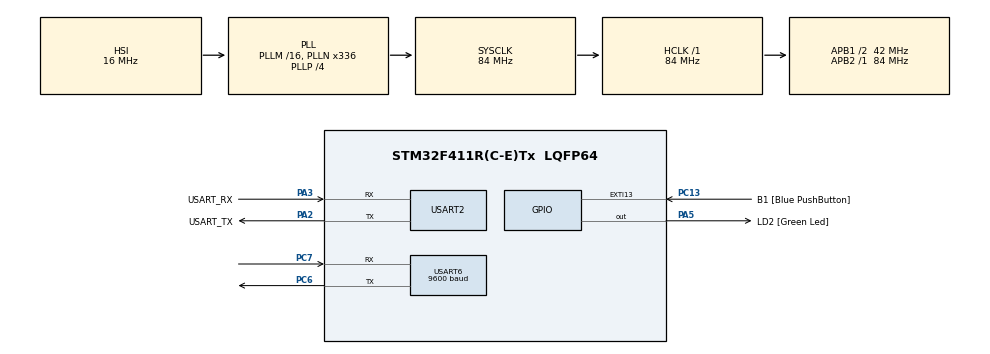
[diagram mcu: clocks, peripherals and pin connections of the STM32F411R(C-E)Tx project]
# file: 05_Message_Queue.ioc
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Dma.Request0=USART6_RX
Dma.Request1=USART2_TX
Dma.USART2_TX.1.Direction=DMA_MEMORY_TO_PERIPH
Dma.USART2_TX.1.FIFOMode=DMA_FIFOMODE_DISABLE
Dma.USART2_TX.1.Instance=DMA1_Stream6
Dma.USART2_TX.1.MemDataAlignment=DMA_MDATAALIGN_BYTE
Dma.USART2_TX.1.MemInc=DMA_MINC_ENABLE
Dma.USART2_TX.1.Mode=DMA_NORMAL
Dma.USART2_TX.1.PeriphDataAlignment=DMA_PDATAALIGN_BYTE
Dma.USART2_TX.1.PeriphInc=DMA_PINC_DISABLE
Dma.USART2_TX.1.Priority=DMA_PRIORITY_MEDIUM
Dma.USART6_RX.0.Direction=DMA_PERIPH_TO_MEMORY
Dma.USART6_RX.0.FIFOMode=DMA_FIFOMODE_ENABLE
Dma.USART6_RX.0.FIFOThreshold=DMA_FIFO_THRESHOLD_FULL
Dma.USART6_RX.0.Instance=DMA2_Stream2
Dma.USART6_RX.0.MemBurst=DMA_MBURST_SINGLE
Dma.USART6_RX.0.MemDataAlignment=DMA_MDATAALIGN_BYTE
Dma.USART6_RX.0.MemInc=DMA_MINC_ENABLE
Dma.USART6_RX.0.Mode=DMA_CIRCULAR
Dma.USART6_RX.0.PeriphBurst=DMA_PBURST_SINGLE
Dma.USART6_RX.0.PeriphDataAlignment=DMA_PDATAALIGN_BYTE
Dma.USART6_RX.0.PeriphInc=DMA_PINC_DISABLE
Dma.USART6_RX.0.Priority=DMA_PRIORITY_MEDIUM
FREERTOS.Tasks01=defaultTask,24,128,StartDefaultTask,Default,NULL,Dynamic,NULL,NULL
FREERTOS.configUSE_NEWLIB_REENTRANT=1
Mcu.Family=STM32F4
Mcu.Name=STM32F411R(C-E)Tx
Mcu.Package=LQFP64
NVIC.DMA1_Stream6_IRQn=true\:5\:0\:false\:false\:true\:true\:false\:true\:true
NVIC.DMA2_Stream2_IRQn=true\:5\:0\:false\:false\:true\:true\:false\:true\:true
NVIC.PriorityGroup=NVIC_PRIORITYGROUP_4
NVIC.TIM2_IRQn=true\:15\:0\:false\:false\:true\:false\:false\:true\:true
NVIC.TimeBase=TIM2_IRQn
NVIC.TimeBaseIP=TIM2
PA13.GPIO_Label=TMS
PA13.Mode=Serial_Wire
PA13.Signal=SYS_JTMS-SWDIO
PA14.GPIO_Label=TCK
PA14.Mode=Serial_Wire
PA14.Signal=SYS_JTCK-SWCLK
PA2.GPIO_Label=USART_TX
PA2.Mode=Asynchronous
PA2.Signal=USART2_TX
PA3.GPIO_Label=USART_RX
PA3.Mode=Asynchronous
PA3.Signal=USART2_RX
PA5.GPIO_Label=LD2 [Green Led]
PA5.Signal=GPIO_Output
PB3.GPIO_Label=SWO
PB3.Signal=SYS_JTDO-SWO
PC13-ANTI_TAMP.GPIO_Label=B1 [Blue PushButton]
PC13-ANTI_TAMP.GPIO_ModeDefaultEXTI=GPIO_MODE_IT_FALLING
PC13-ANTI_TAMP.Signal=GPXTI13
PC14-OSC32_IN.Mode=LSE-External-Oscillator
PC14-OSC32_IN.Signal=RCC_OSC32_IN
PC15-OSC32_OUT.Mode=LSE-External-Oscillator
PC15-OSC32_OUT.Signal=RCC_OSC32_OUT
PC6.Mode=Asynchronous
PC6.Signal=USART6_TX
PC7.Mode=Asynchronous
PC7.Signal=USART6_RX
PH0\ -\ OSC_IN.Mode=HSE-External-Clock-Source
PH0\ -\ OSC_IN.Signal=RCC_OSC_IN
PH1\ -\ OSC_OUT.Mode=HSE-External-Clock-Source
PH1\ -\ OSC_OUT.Signal=RCC_OSC_OUT
ProjectManager.HeapSize=0x200
ProjectManager.StackSize=0x400
ProjectManager.TargetToolchain=STM32CubeIDE
RCC.48MHZClocksFreq_Value=84000000
RCC.AHBFreq_Value=84000000
RCC.APB1CLKDivider=RCC_HCLK_DIV2
RCC.APB1Freq_Value=42000000
RCC.APB1TimFreq_Value=84000000
RCC.APB2Freq_Value=84000000
RCC.APB2TimFreq_Value=84000000
RCC.CortexFreq_Value=84000000
RCC.FLatency-AdvancedSettings=FLASH_LATENCY_2
RCC.HCLKFreq_Value=84000000
RCC.HSE_VALUE=8000000
RCC.HSI_VALUE=16000000
RCC.PLLN=336
RCC.PLLP=RCC_PLLP_DIV4
RCC.SYSCLKFreq_VALUE=84000000
RCC.SYSCLKSource=RCC_SYSCLKSOURCE_PLLCLK
RCC.VCOOutputFreq_Value=336000000
USART2.VirtualMode=VM_ASYNC
USART6.BaudRate=9600
USART6.VirtualMode=VM_ASYNC
VP_FATFS_VS_Generic.Mode=User_defined
VP_FREERTOS_VS_CMSIS_V2.Mode=CMSIS_V2
VP_SYS_VS_tim2.Mode=TIM2
board=NUCLEO-F411RE

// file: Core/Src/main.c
/* USER CODE BEGIN Header */
/**
 ******************************************************************************
 * @file           : main.c
 * @brief          : Main program body
 ******************************************************************************
 * @attention
 *
 * Copyright (c) 2024 STMicroelectronics.
 * All rights reserved.
 *
 * This software is licensed under terms that can be found in the LICENSE file
 * in the root directory of this software component.
 * If no LICENSE file comes with this software, it is provided AS-IS.
 *
 ******************************************************************************
 */
/* USER CODE END Header */
#include "main.h"
#include "cmsis_os.h"
#include "dma.h"
#include "fatfs.h"
#include "usart.h"
#include "gpio.h"

/* USER CODE BEGIN Includes */
#include "task.h"
#include "queue.h"
/* USER CODE END Includes */

/* USER CODE BEGIN PV */

//unsigned char rxBuffer[6];  // Buffer to hold received data
//uint16_t distance;
//char buffer[18];
//int sum;
//unsigned char test[1];
//uint8_t flag = 0;
//uint8_t message[]= "Below The Lower Limit\n";
/* USER CODE END PV */

void SystemClock_Config(void);
void MX_FREERTOS_Init(void);

int main(void)
{

  /* MCU Configuration--------------------------------------------------------*/

  /* Reset of all peripherals, Initializes the Flash interface and the Systick. */
  HAL_Init();

  /* Configure the system clock */
  SystemClock_Config();

  /* Initialize all configured peripherals */
  MX_GPIO_Init();
  MX_DMA_Init();
  MX_USART2_UART_Init();
  MX_USART6_UART_Init();
  MX_FATFS_Init();

  /* Init scheduler */
  osKernelInitialize();

  /* Call init function for freertos objects (in cmsis_os2.c) */
  MX_FREERTOS_Init();

  /* Start scheduler */
  osKernelStart();

  /* We should never get here as control is now taken by the scheduler */

  /* Infinite loop */
	while (1) {

	}
}

void SystemClock_Config(void)
{
  RCC_OscInitTypeDef RCC_OscInitStruct = {0};
  RCC_ClkInitTypeDef RCC_ClkInitStruct = {0};

  /** Configure the main internal regulator output voltage
  */
  __HAL_RCC_PWR_CLK_ENABLE();
  __HAL_PWR_VOLTAGESCALING_CONFIG(PWR_REGULATOR_VOLTAGE_SCALE1);

  /** Initializes the RCC Oscillators according to the specified parameters
  * in the RCC_OscInitTypeDef structure.
  */
  RCC_OscInitStruct.OscillatorType = RCC_OSCILLATORTYPE_HSI;
  RCC_OscInitStruct.HSIState = RCC_HSI_ON;
  RCC_OscInitStruct.HSICalibrationValue = RCC_HSICALIBRATION_DEFAULT;
  RCC_OscInitStruct.PLL.PLLState = RCC_PLL_ON;
  RCC_OscInitStruct.PLL.PLLSource = RCC_PLLSOURCE_HSI;
  RCC_OscInitStruct.PLL.PLLM = 16;
  RCC_OscInitStruct.PLL.PLLN = 336;
  RCC_OscInitStruct.PLL.PLLP = RCC_PLLP_DIV4;
  RCC_OscInitStruct.PLL.PLLQ = 4;
  if (HAL_RCC_OscConfig(&RCC_OscInitStruct) != HAL_OK)
  {
    Error_Handler();
  }

  /** Initializes the CPU, AHB and APB buses clocks
  */
  RCC_ClkInitStruct.ClockType = RCC_CLOCKTYPE_HCLK|RCC_CLOCKTYPE_SYSCLK
                              |RCC_CLOCKTYPE_PCLK1|RCC_CLOCKTYPE_PCLK2;
  RCC_ClkInitStruct.SYSCLKSource = RCC_SYSCLKSOURCE_PLLCLK;
  RCC_ClkInitStruct.AHBCLKDivider = RCC_SYSCLK_DIV1;
  RCC_ClkInitStruct.APB1CLKDivider = RCC_HCLK_DIV2;
  RCC_ClkInitStruct.APB2CLKDivider = RCC_HCLK_DIV1;

  if (HAL_RCC_ClockConfig(&RCC_ClkInitStruct, FLASH_LATENCY_2) != HAL_OK)
  {
    Error_Handler();
  }
}

void HAL_TIM_PeriodElapsedCallback(TIM_HandleTypeDef *htim)
{
  if (htim->Instance == TIM2) {
    HAL_IncTick();
  }
}

void Error_Handler(void)
{
	__disable_irq();
	while (1) {
	}
}

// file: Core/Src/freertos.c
/* USER CODE BEGIN Header */
/**
 ******************************************************************************
 * File Name          : freertos.c
 * Description        : Code for freertos applications
 ******************************************************************************
 * @attention
 *
 * Copyright (c) 2024 STMicroelectronics.
 * All rights reserved.
 *
 * This software is licensed under terms that can be found in the LICENSE file
 * in the root directory of this software component.
 * If no LICENSE file comes with this software, it is provided AS-IS.
 *
 ******************************************************************************
 */
/* USER CODE END Header */

#include "FreeRTOS.h"
#include "task.h"
#include "queue.h"
#include "main.h"
#include "cmsis_os.h"

/* USER CODE BEGIN Includes */
#include "usart.h"
#include "stdio.h"
/* USER CODE END Includes */

/* USER CODE BEGIN Variables */

unsigned char rxBuffer[4];
unsigned char buf[4];
unsigned char pos_0;
unsigned char pos_1;
unsigned char pos_2;
unsigned char pos_3;
uint16_t distance;
char buffer[18];

uint8_t flag = 0;

uint8_t lower_limit[] = "Below The Lower Limit\r\n";
uint8_t error_read[] = "Reading Error\r\n";
uint8_t queue_fail[] = "Failed to Receive\r\n";
uint8_t queue_full[] = "Queue is Full\r\n";
TaskHandle_t receive_task, create_task, send_task;
QueueHandle_t distance_queue;

/* USER CODE END Variables */

/* Definitions for defaultTask */

/* USER CODE BEGIN FunctionPrototypes */
void receive_task_callback(void *argument);
void send_task_callback(void *argument);
void create_task_callback(void *argument);
/* USER CODE END FunctionPrototypes */

void MX_FREERTOS_Init(void); /* (MISRA C 2004 rule 8.1) */

void MX_FREERTOS_Init(void) {
	/* USER CODE BEGIN Init */
	HAL_UART_Transmit(&huart2, (uint8_t*) "RTOS Function\r\n",
			sizeof("RTOS Function\r\n"), HAL_MAX_DELAY);
	/* USER CODE END Init */

	/* USER CODE BEGIN RTOS_QUEUES */
	/* add queues, ... */
	distance_queue = xQueueCreate(10, sizeof(uint16_t));
	/* USER CODE END RTOS_QUEUES */

	/* Create the thread(s) */
	/* creation of defaultTask */

	/* USER CODE BEGIN RTOS_THREADS */
	/* add threads, ... */
	BaseType_t status;
//	status = xTaskCreate(receive_task_callback, "Task receive", 200, NULL, 31,&receive_task);
	status = xTaskCreate(create_task_callback, "Task receive", 200, NULL, 30,
			&create_task);
	if (status != pdPASS) {
		HAL_UART_Transmit(&huart2, (uint8_t*) "Fail to Create Task\r\n",
				sizeof("Fail to Create Task\r\n"), HAL_MAX_DELAY);
	}
	/* USER CODE END RTOS_THREADS */

}

/* USER CODE BEGIN Application */
void receive_task_callback(void *argument) {
	uint16_t distance;
	for (;;) {
		if (xQueueReceive(distance_queue, &distance, portMAX_DELAY) == pdPASS) {
			snprintf(buffer, sizeof(buffer), "Distance: %u\n", distance);
			HAL_UART_Transmit(&huart2, (uint8_t*) buffer, sizeof(buffer),
			HAL_MAX_DELAY);
		} else {
			HAL_UART_Transmit(&huart2, (uint8_t*) queue_fail,
					sizeof(queue_fail), HAL_MAX_DELAY);
		}
	}
}
void create_task_callback(void *argument) {
	BaseType_t status;
	status = xTaskCreate(receive_task_callback, "Task receive", 200, NULL, 31,
			&receive_task);
	if (status != pdPASS) {
		HAL_UART_Transmit(&huart2, (uint8_t*) "Fail to Create Sub Task\r\n",
				sizeof("Fail to Create Sub Task\r\n"), HAL_MAX_DELAY);
	}
	for (;;) {
		status = xTaskCreate(send_task_callback, "Task receive", 200, NULL, 31,
				&send_task);
		if (status != pdPASS) {
			HAL_UART_Transmit(&huart2, (uint8_t*) "Fail to Create Sub Task\r\n",
					sizeof("Fail to Create Sub Task\r\n"), HAL_MAX_DELAY);
		}
		vTaskSuspend(create_task);
	}
}
//void send_task_callback(void *argument) {
//	// Infinite loop for the task
//	uint16_t distance;
//	HAL_GPIO_WritePin(GPIOA, LD2_Pin, GPIO_PIN_SET);
//	for (int i = 0; i < 5; i++) {
//		HAL_UART_Receive_DMA(&huart6, rxBuffer, 4);
//		vTaskDelay(pdMS_TO_TICKS(10));
//		HAL_UART_Receive_DMA(&huart6, rxBuffer, 4);
//		if (rxBuffer[0] == 0xff) {
//			distance = rxBuffer[1] * 256 + rxBuffer[2];
//			if (distance == 250 || distance == 0 || distance >= 65280) {
//				flag = 3;
//				break;
//			} else {
//				flag = 1;
//			}
//		} else {
//			flag = 2;
////			break;
//		}
//		if (flag == 3) {
//			HAL_UART_Transmit(&huart2, lower_limit, sizeof(lower_limit),
//			HAL_MAX_DELAY);
//		} else if (flag == 1) {
//			xQueueSend(distance_queue, &distance, portMAX_DELAY);
//		} else {
//			HAL_UART_Transmit(&huart2, error_read, sizeof(error_read),
//			HAL_MAX_DELAY);
//		}
//		vTaskDelay(pdMS_TO_TICKS(500));
//	}
//	HAL_GPIO_WritePin(GPIOA, LD2_Pin, GPIO_PIN_RESET);
//	vTaskDelay(pdMS_TO_TICKS(1000));
//	vTaskResume(create_task);
//	vTaskDelete(send_task);
//}

void send_task_callback(void *argument) {
	// Infinite loop for the task
	uint16_t distance;
	HAL_GPIO_WritePin(GPIOA, LD2_Pin, GPIO_PIN_SET);
	for (int i = 0; i < 5; i++) {
		for (;;) {
			HAL_UART_Receive_DMA(&huart6, buf, 4);
			vTaskDelay(pdMS_TO_TICKS(250));
			if(buf[0]!=0xff || (buf[0]==buf[3]))
			{
				HAL_GPIO_WritePin(GPIOA, LD2_Pin, GPIO_PIN_RESET);
				vTaskDelay(pdMS_TO_TICKS(50));
				HAL_GPIO_WritePin(GPIOA, LD2_Pin, GPIO_PIN_SET);
				vTaskDelay(pdMS_TO_TICKS(300));
//				vTaskDelay(pdMS_TO_TICKS(500));
//				HAL_UART_Receive(&huart6, &pos_0, 1,100);
			}
			else
			{
				break;
			}
		}

		if (buf[0] == 0xff) {
			distance = buf[1] * 256 + buf[2];
			if (distance == 250 || distance == 0 || distance >= 65280) {
				flag = 3;
				break;
			} else {
				flag = 1;
			}
		} else {
			flag = 2;
//			break;
		}
		if (flag == 3) {
			HAL_UART_Transmit(&huart2, lower_limit, sizeof(lower_limit),
			HAL_MAX_DELAY);
		} else if (flag == 1) {
			xQueueSend(distance_queue, &distance, portMAX_DELAY);
			flag = 0;
		} else {
			HAL_UART_Transmit(&huart2, error_read, sizeof(error_read),
			HAL_MAX_DELAY);
		}
		vTaskDelay(pdMS_TO_TICKS(300));
	}
	HAL_GPIO_WritePin(GPIOA, LD2_Pin, GPIO_PIN_RESET);
	vTaskDelay(pdMS_TO_TICKS(100));
	vTaskResume(create_task);
	vTaskDelete(send_task);
}

/* USER CODE END Application */
